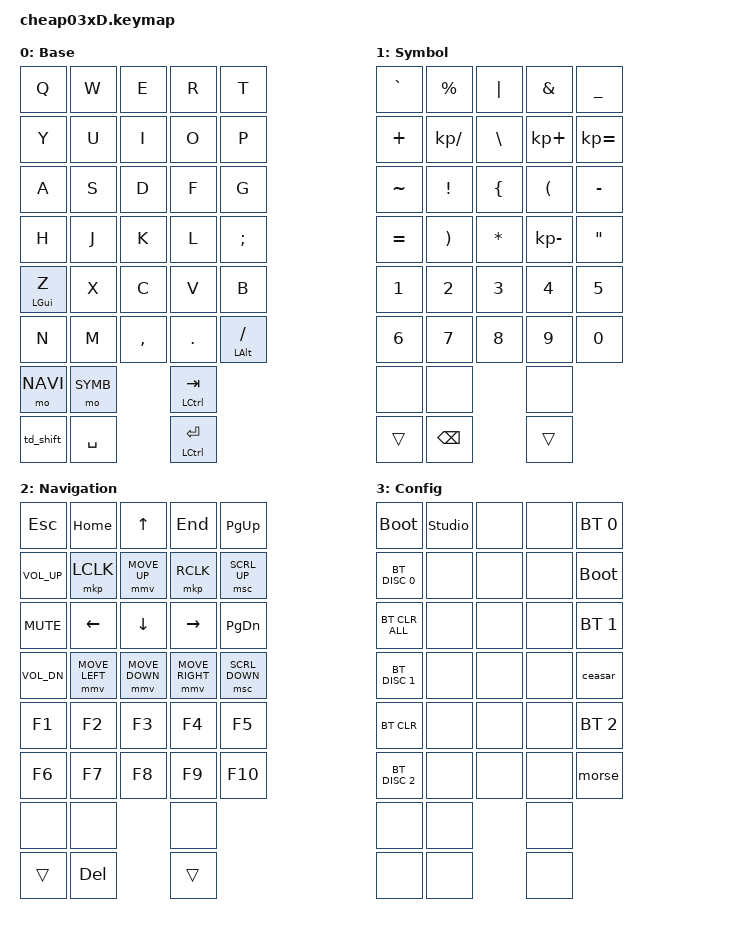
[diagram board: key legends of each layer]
#include <behaviors.dtsi>
#include <dt-bindings/zmk/keys.h>
#include <dt-bindings/zmk/bt.h>
#include <dt-bindings/zmk/pointing.h>
#include <dt-bindings/zmk/behaviors.h>


#include <behaviors/morse.dtsi> // include for the morse reference
#include <behaviors/ceasar.dtsi> // include for the ceasar reference

#define BASE 0
#define SYMB 1
#define NAVI 2
#define CONF 3


/ {  
    combos {
        compatible = "zmk,combos";
        
        combo_activate_layer_3 {
            timeout-ms = <150>;
            key-positions = <30 32>;
            bindings = <&mo CONF>;
        };
        
        combo_esc {
            timeout-ms = <30>;
            key-positions = <0 1 2>;
            bindings = <&kp ESCAPE>;
        };
        
        combo_enter {
            timeout-ms = <30>;
            key-positions = <6 7 8>;
            bindings = <&kp ENTER>;
        };
        
        combo_backspace {
            timeout-ms = <30>;
            key-positions = <7 8 9>;
            bindings = <&kp BACKSPACE>;
        };
        
        combo_CtrlTab {
            timeout-ms = <30>;
            key-positions = <21 22 23>;
            bindings = <&kp LC(TAB)>;
        };
        combo_AltTab {
            timeout-ms = <30>;
            key-positions = <26 27 28>;
            bindings = <&kp LA(TAB)>;
        };
    };
    
    behaviors {
    	td_shift: tap_dance_shift {
            compatible = "zmk,behavior-tap-dance";
            #binding-cells = <0>;
            tapping-term-ms = <300>;
            bindings = <&kp LSFT>, <&kp LSFT>, <&kp CAPS>; 
        };
        
        mt: mod_tap {
            compatible = "zmk,behavior-hold-tap";
            #binding-cells = <2>;
            bindings = <&kp>, <&kp>;
            tapping-term-ms = <220>;
        };
        
        mt_b: mod_tap_balanced {
            compatible = "zmk,behavior-hold-tap";
            #binding-cells = <2>;
	    flavor = "balanced";
            bindings = <&kp>, <&kp>;
            tapping-term-ms = <220>;
        };
    };

    keymap {
        compatible = "zmk,keymap";


        default_layer { // Layer 0
            display-name = "Base";
            bindings = <
                &kp Q    &kp W    &kp E    &kp R    &kp T                   
                &kp Y    &kp U    &kp I    &kp O    &kp P
                
                &kp A    &kp S    &kp D    &kp F    &kp G                   
                &kp H    &kp J    &kp K    &kp L    &kp SEMICOLON
                
                &mt_b LGUI Z    &kp X    &kp C        &kp V      &kp B                   
                &kp N    &kp M    &kp COMMA    &kp DOT    &mt_b LALT  SLASH
                
                &mo NAVI     &mo SYMB      &mt LCTRL TAB    
                &td_shift    &kp SPACE     &mt LCTRL RET
            >;
        };

        symb_layer { //layer 1
            display-name = "Symbol";
            bindings = <
                &kp GRAVE   &kp PERCENT    &kp PIPE         &kp AMPERSAND  &kp UNDERSCORE
                &kp PLUS    &kp KP_SLASH   &kp BACKSLASH    &kp KP_PLUS    &kp KP_EQUAL

                &kp TILDE    &kp EXCLAMATION          &kp LEFT_BRACE    &kp LEFT_PARENTHESIS    &kp MINUS
                &kp EQUAL    &kp RIGHT_PARENTHESIS    &kp ASTERISK      &kp KP_MINUS            &kp DOUBLE_QUOTES

                &kp N1    &kp N2    &kp N3    &kp N4    &kp N5                 
                &kp N6    &kp N7    &kp N8    &kp N9    &kp N0
                                              
                &none     &none            &none
                &trans    &kp BACKSPACE    &trans
            >;
        };  

        navi_layer { //layer 2
            display-name = "Navigation";
            bindings = <
                &kp ESCAPE      &kp HOME     &kp UP          &kp END      &kp PG_UP   
                &kp C_VOL_UP    &mkp LCLK    &mmv MOVE_UP    &mkp RCLK    &msc SCRL_UP

                &kp K_MUTE      &kp LEFT          &kp DOWN          &kp RIGHT          &kp PG_DN   
                &kp C_VOL_DN    &mmv MOVE_LEFT    &mmv MOVE_DOWN    &mmv MOVE_RIGHT    &msc SCRL_DOWN

                &kp F1    &kp F2    &kp F3    &kp F4    &kp F5
                &kp F6    &kp F7    &kp F8    &kp F9    &kp F10

                &none     &none         &none
                &trans    &kp DELETE    &trans
            >;
        };


        config_layer { //layer 3
            display-name = "Config";
            bindings = <
                &bootloader    &studio_unlock    &none    &none    &bt BT_SEL 0        
                &bt BT_DISC 0          &none             &none    &none    &bootloader  

                &bt BT_CLR_ALL    &none    &none    &none    &bt BT_SEL 1         
                &bt BT_DISC 1    &none    &none    &none    &ceasar   

                &bt BT_CLR    &none    &none    &none   &bt BT_SEL 2       
                &bt BT_DISC 2          &none    &none    &none    &morse   

                &none   &none    &none 
                &none   &none    &none               
            >;
        }; 
        
        
        extra_1 {
            status = "reserved";
        }; 
        
        extra_2 {
            status = "reserved";
        };


    };
 };
